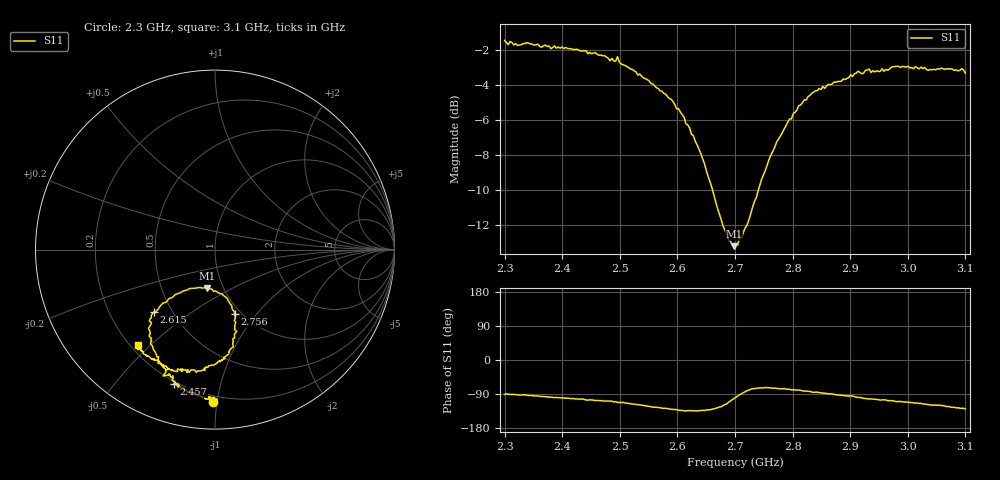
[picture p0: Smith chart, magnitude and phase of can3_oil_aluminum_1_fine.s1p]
# MHz S MA R 50
!  freq  S11
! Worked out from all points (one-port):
!   250 points, 2.3 GHz to 3.1 GHz, reference 50 ohm
!   lowest |S11| = -13.2 dB at 2.698 GHz (marker M1), VSWR 1.56, Z = 42 - j18.9 ohm
!   |S11| at or under -10 dB: 2.661 GHz to 2.74 GHz (79.44 MHz wide, 2.94 % of centre)
!   S11 on the Smith chart (normalised r, x): 2.3 GHz: 0.16, -0.98; 2.457 GHz: 0.19, -0.72; 2.615 GHz: 0.40, -0.36; 2.756 GHz: 0.93, -0.78; 3.1 GHz: 0.23, -0.46
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2300  0.8476 -90.7
2303.213  0.8357 -89.1
2325.703  0.8227 -92.6
2335.341  0.8305 -91.7
2377.108  0.8174 -98.3
2402.811  0.8034 -100.0
2457.43  0.7828 -107.0
2483.133  0.7413 -108.5
2492.771  0.7397 -109.8
2495.984  0.7616 -112.3
2502.41  0.726 -112.2
2557.028  0.6367 -124.2
2602.008  0.5407 -132.6
2614.859  0.4894 -134.4
2640.562  0.4028 -133.1
2666.265  0.2935 -127.8
2688.755  0.2271 -111.7
2698.394  0.2185 -101.5
2701.606  0.2216 -98.4
2730.522  0.2824 -75.8
2756.225  0.3743 -73.0
2801.205  0.5239 -78.8
2836.546  0.603 -85.5
2900.803  0.6765 -94.9
2932.932  0.7021 -103.0
3000.402  0.7155 -111.5
3061.446  0.7034 -120.5
3100  0.6828 -129.1
